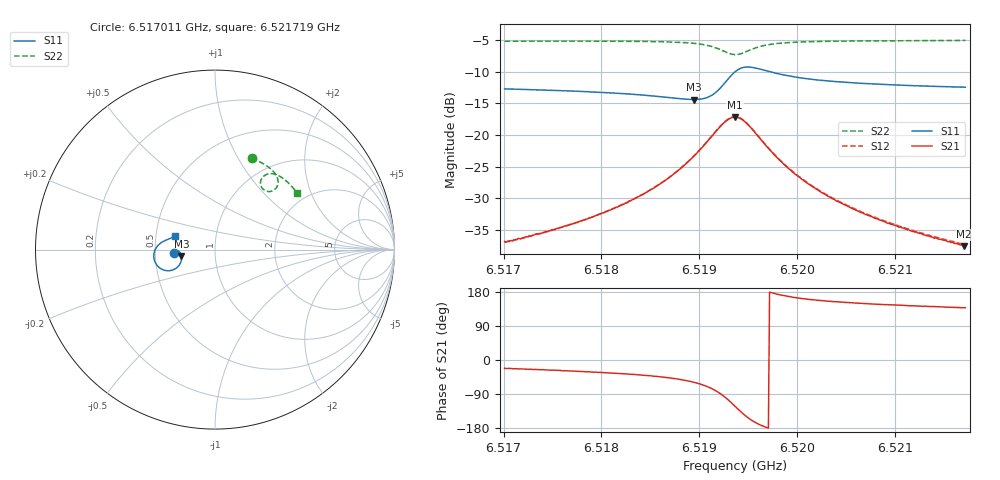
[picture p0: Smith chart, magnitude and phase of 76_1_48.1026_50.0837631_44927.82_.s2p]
#  HZ  S  RI  R  50.00
! Rohde & Schwarz Vector Network Analyzer
! Rohde-Schwarz,ZNB20-2Port,1311601062101988,3.16
! Created: UTC 12/23/2023, 3:42:16 AM
! freq[Hz]  re:S11  im:S11  re:S21  im:S21  re:S12  im:S12  re:S22  im:S22
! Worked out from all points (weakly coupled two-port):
!   401 points, 6.517011 GHz to 6.521719 GHz, reference 50 ohm
!   highest |S21| = -17.17 dB at 6.519365 GHz (marker M1); lowest = -37.5 dB at 6.521707 GHz (marker M2)
!   lowest |S11| = -14.4 dB at 6.518941 GHz (marker M3), VSWR 1.47, Z = 34.2 - j2.47 ohm
!   |S11| at or under -10 dB: start of sweep to 6.519368 GHz; 6.519714 GHz to end of sweep
!   |S22| runs from -7.3 to -5.1 dB; largest |S21 - S12| = 0.0042
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6.5170112e9  -0.2304 -0.0171  0.0134 -0.00544  0.0135 -0.00489  0.2045 0.5089
6.5173878e9  -0.2261 -0.0115  0.0152 -0.00718  0.0155 -0.00684  0.2323 0.4973
6.5177998e9  -0.2203 -0.00672  0.0182 -0.0106  0.0186 -0.01  0.2628 0.4817
6.5182352e9  -0.2115 -0.00481  0.0231 -0.0171  0.0236 -0.0163  0.2955 0.4611
6.5185883e9  -0.2008 -0.00962  0.0292 -0.0283  0.0303 -0.0274  0.323 0.4378
6.5187884e9  -0.1929 -0.0191  0.0335 -0.0408  0.035 -0.04  0.3385 0.4183
6.5189414e9  -0.1872 -0.0349  0.0353 -0.0577  0.0373 -0.057  0.3487 0.397
6.5190591e9  -0.1868 -0.056  0.032 -0.0785  0.0346 -0.078  0.3514 0.3735
6.5191415e9  -0.1939 -0.0777  0.0221 -0.0983  0.0254 -0.0982  0.3465 0.3532
6.519271e9  -0.237 -0.1141  -0.0218 -0.1266  -0.0182 -0.1284  0.3127 0.3246
6.5193651e9  -0.295 -0.11  -0.0735 -0.1174  -0.0707 -0.1204  0.2729 0.3325
6.5194122e9  -0.32 -0.0914  -0.0938 -0.0983  -0.0917 -0.1018  0.2588 0.3487
6.519471e9  -0.3376 -0.0598  -0.106 -0.0688  -0.1048 -0.0724  0.2534 0.3732
6.5195652e9  -0.3382 -0.014  -0.1014 -0.0295  -0.1012 -0.0327  0.2653 0.4035
6.5196711e9  -0.3224 0.0176  -0.0842 -0.0051  -0.0848 -0.00751  0.2884 0.4195
6.5198948e9  -0.2908 0.0441  -0.055 0.0114  -0.0557 0.00989  0.3281 0.4214
6.5201537e9  -0.2691 0.0543  -0.0368 0.0141  -0.0376 0.0132  0.3585 0.4097
6.5205185e9  -0.252 0.0614  -0.0242 0.013  -0.0247 0.0125  0.3889 0.3891
6.5209423e9  -0.2398 0.0676  -0.0166 0.0113  -0.0172 0.011  0.4166 0.3641
6.5212247e9  -0.2337 0.0715  -0.0136 0.0105  -0.014 0.0101  0.4325 0.3472
6.5217073e9  -0.2251 0.0781  -0.00985 0.00896  -0.0104 0.00885  0.4567 0.3173
6.521719e9  -0.2249 0.0783  -0.00996 0.00896  -0.0104 0.00895  0.4572 0.3165
